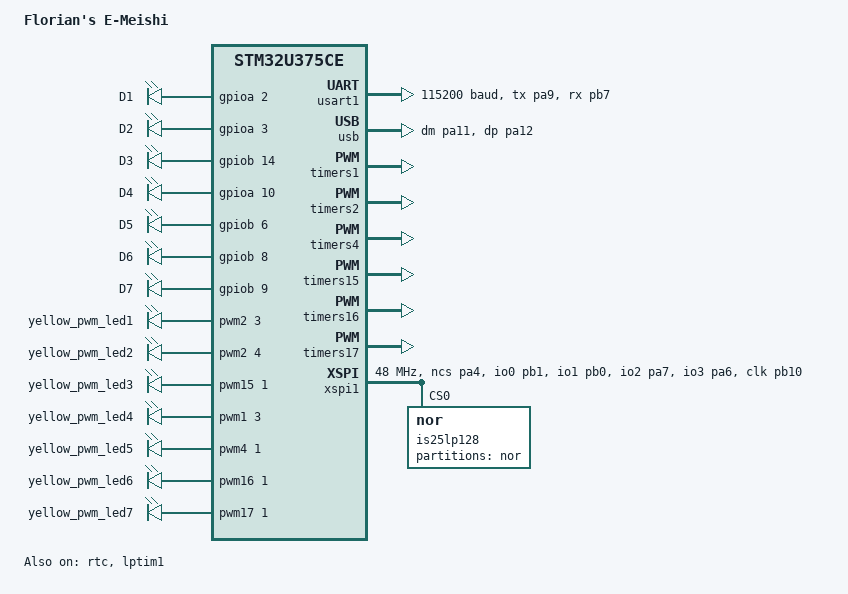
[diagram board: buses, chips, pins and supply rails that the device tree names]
/*
 * Based on nucleo_u385rg_q:
 * - Copyright (c) 2025 STMicroelectronics
 *
 * SPDX-FileCopyrightText: © 2026 Florian Vaussard
 * SPDX-License-Identifier: Apache-2.0
 */

/dts-v1/;
#include <st/u3/stm32u375Xe.dtsi>
#include <st/u3/stm32u375cetx-pinctrl.dtsi>

/ {
	model = "Florian's E-Meishi";
	compatible = "vaussard,stm32u375ce-e-meishi";

	chosen {
		zephyr,code-partition = &slot0_partition;
		zephyr,console = &usart1;
		zephyr,flash = &flash0;
		zephyr,shell-uart = &usart1;
		zephyr,sram = &sram0;
		zephyr,system-timer = &lptim1;
	};

	leds: leds {
		compatible = "gpio-leds";

		yellow_led_1: led_1 {
			gpios = <&gpioa 2 GPIO_ACTIVE_HIGH>;
			label = "D1";
		};
		yellow_led_2: led_2 {
			gpios = <&gpioa 3 GPIO_ACTIVE_HIGH>;
			label = "D2";
		};
		yellow_led_3: led_3 {
			gpios = <&gpiob 14 GPIO_ACTIVE_HIGH>;
			label = "D3";
		};
		yellow_led_4: led_4 {
			gpios = <&gpioa 10 GPIO_ACTIVE_HIGH>;
			label = "D4";
		};
		yellow_led_5: led_5 {
			gpios = <&gpiob 6 GPIO_ACTIVE_HIGH>;
			label = "D5";
		};
		yellow_led_6: led_6 {
			gpios = <&gpiob 8 GPIO_ACTIVE_HIGH>;
			label = "D6";
		};
		yellow_led_7: led_7 {
			gpios = <&gpiob 9 GPIO_ACTIVE_HIGH>;
			label = "D7";
		};
	};

	pwmleds: pwmleds {
		compatible = "pwm-leds";
		status = "okay";

		yellow_pwm_led1: yellow_pwm_led1 {
			pwms = <&pwm2 3 PWM_USEC(1000) PWM_POLARITY_NORMAL>;
		};
		yellow_pwm_led2: yellow_pwm_led2 {
			pwms = <&pwm2 4 PWM_USEC(1000) PWM_POLARITY_NORMAL>;
		};
		yellow_pwm_led3: yellow_pwm_led3 {
			pwms = <&pwm15 1 PWM_USEC(1000) PWM_POLARITY_NORMAL>;
		};
		yellow_pwm_led4: yellow_pwm_led4 {
			pwms = <&pwm1 3 PWM_USEC(1000) PWM_POLARITY_NORMAL>;
		};
		yellow_pwm_led5: yellow_pwm_led5 {
			pwms = <&pwm4 1 PWM_USEC(1000) PWM_POLARITY_NORMAL>;
		};
		yellow_pwm_led6: yellow_pwm_led6 {
			pwms = <&pwm16 1 PWM_USEC(1000) PWM_POLARITY_NORMAL>;
		};
		yellow_pwm_led7: yellow_pwm_led7 {
			pwms = <&pwm17 1 PWM_USEC(1000) PWM_POLARITY_NORMAL>;
		};
	};

	aliases {
		spi-flash0 = &is25lp128;
		led0 = &yellow_led_1;
		pwm-led0 = &yellow_pwm_led1;
		rtc = &rtc;
	};
};

&flash0 {
	partitions {
		#address-cells = <1>;
		#size-cells = <1>;
		ranges;

		boot_partition: partition@0 {
			compatible = "zephyr,mapped-partition";
			label = "mcuboot";
			reg = <0x00000000 DT_SIZE_K(64)>;
		};

		slot0_partition: partition@10000 {
			compatible = "zephyr,mapped-partition";
			label = "image-0";
			reg = <0x00010000 DT_SIZE_K(216)>;
		};

		slot1_partition: partition@46000 {
			compatible = "zephyr,mapped-partition";
			label = "image-1";
			reg = <0x00046000 DT_SIZE_K(216)>;
		};

		storage_partition: partition@7c000 {
			compatible = "zephyr,mapped-partition";
			label = "storage";
			reg = <0x0007c000 DT_SIZE_K(16)>;
		};
	};
};

/* debug console */
&usart1 {
	pinctrl-0 = <&usart1_tx_pa9 &usart1_rx_pb7>;
	pinctrl-names = "default";
	current-speed = <115200>;
	status = "okay";
};

&clk_hsi {
	status = "okay";
};

&clk_hsi48 {
	status = "okay";
};

&clk_msis {
	status = "okay";
	msi-range = <1>; /* 48MHz */
};

&rcc {
	clocks = <&clk_msis>;
	clock-frequency = <DT_FREQ_M(48)>;
	ahb-prescaler = <1>;
	apb1-prescaler = <1>;
	apb2-prescaler = <1>;
	apb3-prescaler = <1>;
};

&clk_lsi {
	status = "okay";
};

&rtc {
	clocks = <&rcc STM32_CLOCK(APB1, 30)>,
		 <&rcc STM32_SRC_LSI RTC_SEL(2)>;
	status = "okay";
};

zephyr_udc0: &usb {
	pinctrl-0 = <&usb_dm_pa11 &usb_dp_pa12>;
	pinctrl-names = "default";
	status = "okay";
};

&timers1 {
	st,prescaler = <47>; /* 48 MHz / (47 + 1) = 1 MHz */
	status = "okay";

	pwm1: pwm {
		pinctrl-0 = <&tim1_ch3_pa10>;
		pinctrl-names = "default";
		status = "okay";
	};
};

&timers2 {
	st,prescaler = <47>; /* 48 MHz / (47 + 1) = 1 MHz */
	status = "okay";

	pwm2: pwm {
		pinctrl-0 = <&tim2_ch3_pa2 &tim2_ch4_pa3>;
		pinctrl-names = "default";
		status = "okay";
	};
};

&timers4 {
	st,prescaler = <47>; /* 48 MHz / (47 + 1) = 1 MHz */
	status = "okay";

	pwm4: pwm {
		pinctrl-0 = <&tim4_ch1_pb6>;
		pinctrl-names = "default";
		status = "okay";
	};
};

&timers15 {
	st,prescaler = <47>; /* 48 MHz / (47 + 1) = 1 MHz */
	status = "okay";

	pwm15: pwm {
		pinctrl-0 = <&tim15_ch1_pb14>;
		pinctrl-names = "default";
		status = "okay";
	};
};

&timers16 {
	st,prescaler = <47>; /* 48 MHz / (47 + 1) = 1 MHz */
	status = "okay";

	pwm16: pwm {
		pinctrl-0 = <&tim16_ch1_pb8>;
		pinctrl-names = "default";
		status = "okay";
	};
};

&timers17 {
	st,prescaler = <47>; /* 48 MHz / (47 + 1) = 1 MHz */
	status = "okay";

	pwm17: pwm {
		pinctrl-0 = <&tim17_ch1_pb9>;
		pinctrl-names = "default";
		status = "okay";
	};
};

&lptim1 {
	clocks = <&rcc STM32_CLOCK(APB3, 11)>,
		 <&rcc STM32_SRC_LSI LPTIM1_SEL(1)>;
	status = "okay";
};

&xspi1 {
	pinctrl-0 = <&octospi1_ncs_pa4
		     &octospi1_io0_pb1 &octospi1_io1_pb0
		     &octospi1_io2_pa7 &octospi1_io3_pa6
		     &octospi1_clk_pb10>;
	pinctrl-names = "default";
	clock-frequency = <DT_FREQ_M(48)>;
	/* not a PSRAM; do not release nCS on aligned boundaries (it would cut page programs) */
	st,csbound = <0>;
	status = "okay";

	is25lp128: qspi-nor-flash@0 {
		compatible = "jedec,nor";
		reg = <0>;

		/* TODO: enable DTR */
		size = <DT_SIZE_M(128)>; /* 128 Mbits */
		mspi-max-frequency = <DT_FREQ_M(48)>;
		mspi-io-mode = "MSPI_IO_MODE_QUAD_1_4_4";
		mspi-data-rate = "MSPI_DATA_RATE_SINGLE";
		mspi-hardware-ce-num = <0>;
		read-command = <0xeb>; /* FRQIO 1-4-4 */
		write-command = <0x32>; /* PPQ 1-1-4 */
		write-io-mode = "MSPI_IO_MODE_QUAD_1_1_4";
		quad-enable-requirements = "S1B6"; /* QE = SR1 bit 6 */
		command-length = "INSTR_1_BYTE";
		address-length = "ADDR_3_BYTE";
		tx-dummy = <0>;
		rx-dummy = <6>;
		jedec-id = [9d 60 18];

		partitions {
			compatible = "fixed-partitions";
			#address-cells = <1>;
			#size-cells = <1>;

			partition@0 {
				label = "nor";
				reg = <0x00000000 DT_SIZE_M(16)>;
			};
		};
	};
};
